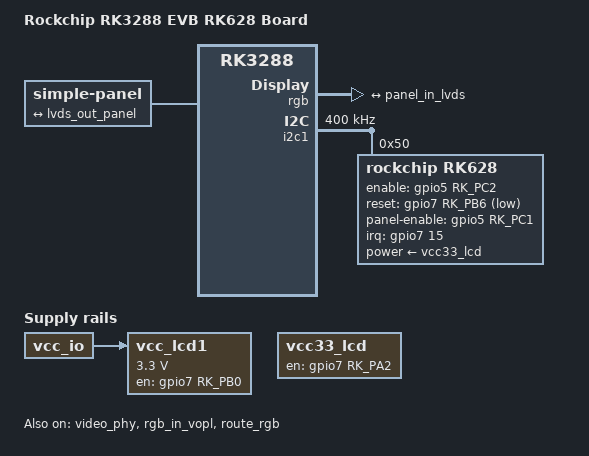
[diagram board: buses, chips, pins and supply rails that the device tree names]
// SPDX-License-Identifier: (GPL-2.0+ OR MIT)
// Copyright (c) 2020 Fuzhou Rockchip Electronics Co., Ltd

/dts-v1/;
#include "rk3288-evb-rk628.dtsi"

/ {
	model = "Rockchip RK3288 EVB RK628 Board";
	compatible = "rockchip,rk3288-evb-rk628", "rockchip,rk3288";

	chosen {
		bootargs = "rootwait earlycon=uart8250,mmio32,0xff690000 vmalloc=496M swiotlb=1 console=ttyFIQ0 androidboot.baseband=N/A androidboot.veritymode=enforcing androidboot.hardware=rk30board androidboot.console=ttyFIQ0 init=/init kpti=0";
	};
	vcc_lcd1: vcc-lcd1 {
		compatible = "regulator-fixed";
		regulator-name = "vcc_lcd1";
		regulator-min-microvolt = <3300000>;
		regulator-max-microvolt = <3300000>;
		regulator-boot-on;
		gpio = <&gpio7 RK_PB0 GPIO_ACTIVE_HIGH>;
		enable-active-high;
		vin-supply = <&vcc_io>;
	};

	vcc33_lcd: vcc33-lcd {
		compatible = "regulator-fixed";
		regulator-name = "vcc33_lcd";
		regulator-boot-on;
		gpio = <&gpio7 RK_PA2 GPIO_ACTIVE_HIGH>;
		enable-active-high;
	};

	panel {
		compatible = "simple-panel";
		prepare-delay-ms = <120>;
		enable-delay-ms = <120>;
		disable-delay-ms = <120>;
		unprepare-delay-ms = <20>;
		status = "okay";

		display-timings {
			native-mode = <&timing0>;

			timing0: timing0 {
				clock-frequency = <148500000>;
				hactive = <1920>;
				vactive = <1080>;
				hback-porch = <96>;
				hfront-porch = <120>;
				vback-porch = <8>;
				vfront-porch = <33>;
				hsync-len = <64>;
				vsync-len = <4>;
				hsync-active = <0>;
				vsync-active = <0>;
				de-active = <0>;
				pixelclk-active = <0>;
			};
		};

		port {
			panel_in_lvds: endpoint {
				remote-endpoint = <&lvds_out_panel>;
			};
		};
	};

};

&firmware_android {
	compatible = "android,firmware";
	boot_devices = "ff0f0000.dwmmc";

	vbmeta {
		compatible = "android,vbmeta";
		parts = "vbmeta,boot,system,vendor,dtbo";
	};

	fstab {
		compatible = "android,fstab";

		vendor {
			compatible = "android,vendor";
			dev = "/dev/block/by-name/vendor";
			type = "ext4";
			mnt_flags = "ro,barrier=1,inode_readahead_blks=8";
			fsmgr_flags = "wait,avb";
		};
	};
};

&rgb {
	status = "okay";

	ports {
		port@1 {
			reg = <1>;

			lvds_out_panel: endpoint {
				remote-endpoint = <&panel_in_lvds>;
			};
		};
	};
};

&i2c1 {
	clock-frequency = <400000>;
	status = "okay";

	rk628: rk628@50 {
		compatible = "rockchip,rk628";
		reg = <0x50>;
		interrupt-parent = <&gpio7>;
		interrupts = <15 IRQ_TYPE_LEVEL_HIGH>;
		enable-gpios = <&gpio5 RK_PC2 GPIO_ACTIVE_HIGH>;
		reset-gpios = <&gpio7 RK_PB6 GPIO_ACTIVE_LOW>;
		panel-backlight = <&backlight>;
		power-supply = <&vcc33_lcd>;
		panel-enable-gpios = <&gpio5 RK_PC1 GPIO_ACTIVE_HIGH>;
		status = "okay";

		rk628,rgb-in;
		rk628-lvds {
			/* "jeida_18","vesa_24","vesa_18" */
			bus-format = "vesa_24";

			/* "dual_link_odd_even_pixels"
			 * "dual_link_even_odd_pixels"
			 * "dual_link_left_right_pixels"
			 * "dual_link_right_left_pixels"
			 */
			link-type = "dual_link_even_odd_pixels";
			status = "okay";
		};

		display-timings {
			src-timing {
				clock-frequency = <148500000>;
				hactive = <1920>;
				vactive = <1080>;
				hback-porch = <96>;
				hfront-porch = <120>;
				vback-porch = <8>;
				vfront-porch = <33>;
				hsync-len = <64>;
				vsync-len = <4>;
				hsync-active = <0>;
				vsync-active = <0>;
				de-active = <0>;
				pixelclk-active = <0>;
			};

			dst-timing {
				clock-frequency = <148500000>;
				hactive = <1920>;
				vactive = <1080>;
				hback-porch = <96>;
				hfront-porch = <120>;
				vback-porch = <8>;
				vfront-porch = <33>;
				hsync-len = <64>;
				vsync-len = <4>;
				hsync-active = <0>;
				vsync-active = <0>;
				de-active = <0>;
				pixelclk-active = <0>;
			};
		};
	};
};

&video_phy {
	status = "okay";
};

&rgb_in_vopb {
	status = "disabled";
};

&rgb_in_vopl {
	status = "okay";
};

&route_rgb {
	connect = <&vopl_out_rgb>;
	status = "okay";
};
